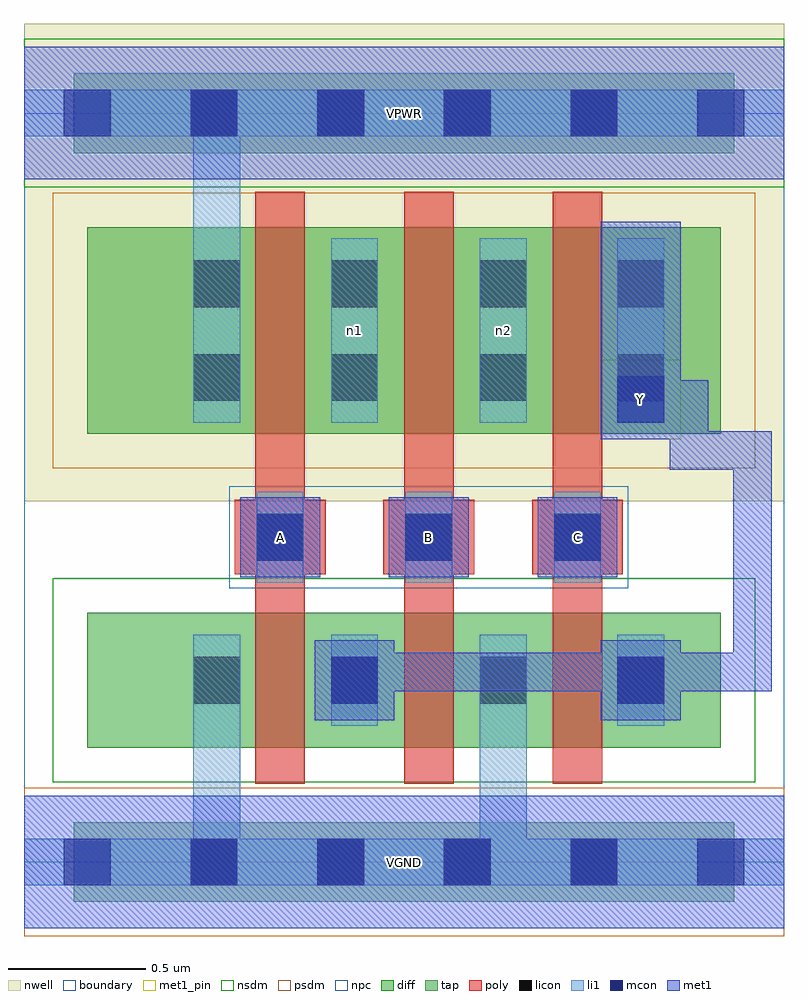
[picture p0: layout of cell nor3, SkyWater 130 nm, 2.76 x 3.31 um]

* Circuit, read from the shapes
.subckt nor3 A B C VGND VPWR Y n1 n2
XM1 Y A VGND VGND sky130_fd_pr__nfet_01v8 w=0.49 l=0.18
XM2 VGND B Y VGND sky130_fd_pr__nfet_01v8 w=0.49 l=0.18
XM3 Y C VGND VGND sky130_fd_pr__nfet_01v8 w=0.49 l=0.18
XM4 n1 A VPWR VPWR sky130_fd_pr__pfet_01v8 w=0.75 l=0.18
XM5 n2 B n1 VPWR sky130_fd_pr__pfet_01v8 w=0.75 l=0.18
XM6 Y C n2 VPWR sky130_fd_pr__pfet_01v8 w=0.75 l=0.18
.ends

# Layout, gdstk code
import gdstk
lib = gdstk.Library(unit=1e-6, precision=1e-09)
def R(c, l, rs):  # rectangles x0, y0, x1, y1
    for r in rs: c.add(gdstk.rectangle(r[:2], r[2:], *l))
def A(c, l, x, y, w, h, nx, ny, dx, dy):  # array of equal rectangles
    R(c, l, [(x+i*dx, y+j*dy, x+i*dx+w, y+j*dy+h) for i in range(nx) for j in range(ny)])
nwell = (64, 20)
diff = (65, 20)
tap = (65, 44)
poly = (66, 20)
licon = (66, 44)
li1 = (67, 20)
mcon = (67, 44)
met1_pin = (68, 16)
met1 = (68, 20)
nsdm = (93, 44)
psdm = (94, 20)
npc = (95, 20)
boundary = (235, 4)

nor3 = lib.new_cell('nor3')
R(nor3, nwell, [(0,1.31,2.76,3.045)])
R(nor3, diff, [(0.23,0.415,2.53,0.905), (0.23,1.555,2.53,2.305)])
R(nor3, tap, [(0.18,-0.145,2.58,0.145), (0.18,2.575,2.58,2.865)])
A(nor3, poly, 0.84, 0.285, 0.18, 2.15, 3, 1, 0.54, 0)
A(nor3, poly, 0.765, 1.045, 0.33, 0.27, 3, 1, 0.54, 0)
A(nor3, licon, 0.605, -0.085, 0.17, 0.17, 4, 2, 0.46, 2.72)
A(nor3, licon, 0.845, 1.095, 0.17, 0.17, 3, 1, 0.54, 0)
R(nor3, licon, [(0.615,0.575,0.785,0.745), (1.115,0.575,1.285,0.745), (1.655,0.575,1.825,0.745), (2.155,0.575,2.325,0.745), (0.615,1.675,0.785,1.845), (1.115,1.675,1.285,1.845), (1.655,1.675,1.825,1.845), (2.155,1.675,2.325,1.845), (0.615,2.015,0.785,2.185), (1.115,2.015,1.285,2.185), (1.655,2.015,1.825,2.185), (2.155,2.015,2.325,2.185)])
A(nor3, li1, 0.845, 1.015, 0.17, 0.33, 3, 1, 0.54, 0)
R(nor3, li1, [(0,-0.085,2.76,0.085), (0.615,-0.085,0.785,0.825), (1.655,-0.085,1.825,0.825), (0.615,0.495,0.785,0.825), (1.115,0.495,1.285,0.825), (1.655,0.495,1.825,0.825), (2.155,0.495,2.325,0.825), (0.615,1.595,0.785,2.265), (0.615,1.595,0.785,2.805), (1.115,1.595,1.285,2.265), (1.655,1.595,1.825,2.265), (2.155,1.595,2.325,2.265), (0,2.635,2.76,2.805)])
A(nor3, mcon, 0.145, -0.085, 0.17, 0.17, 6, 2, 0.46, 2.72)
A(nor3, mcon, 0.845, 1.095, 0.17, 0.17, 3, 1, 0.54, 0)
R(nor3, mcon, [(1.115,0.575,1.285,0.745), (2.155,0.575,2.325,0.745), (2.155,1.595,2.325,1.765)])
A(nor3, met1_pin, 0.785, 1.035, 0.29, 0.29, 3, 1, 0.54, 0)
R(nor3, met1_pin, [(0,-0.24,2.76,0.24), (2.095,1.535,2.385,1.825), (0,2.48,2.76,2.96)])
A(nor3, met1, 0.785, 1.035, 0.29, 0.29, 3, 1, 0.54, 0)
R(nor3, met1, [(0,-0.24,2.76,0.24), (1.055,0.515,1.345,0.805), (2.095,0.515,2.385,0.805), (1.195,0.62,1.335,0.76), (1.195,0.62,2.255,0.76), (2.115,0.62,2.255,0.76), (2.115,0.62,2.715,0.76), (2.575,0.62,2.715,1.565), (2.345,1.425,2.485,1.75), (2.345,1.425,2.715,1.565), (2.345,1.425,2.485,1.68), (2.095,1.535,2.385,1.825), (2.095,1.535,2.385,2.325), (2.23,1.54,2.37,1.68), (2.23,1.54,2.485,1.68), (2.17,1.61,2.485,1.75), (0,2.48,2.76,2.96)])
R(nor3, nsdm, [(0.105,0.29,2.655,1.03), (0,2.45,2.76,2.99)])
R(nor3, psdm, [(0,-0.27,2.76,0.27), (0.105,1.43,2.655,2.43)])
R(nor3, npc, [(0.745,0.995,2.195,1.365)])
R(nor3, boundary, [(0,0,2.76,2.72)])
nor3.add(gdstk.Label('n1', (1.2,1.93), layer=67, texttype=5))
nor3.add(gdstk.Label('n2', (1.74,1.93), layer=67, texttype=5))
nor3.add(gdstk.Label('A', (0.93,1.18), layer=68, texttype=5))
nor3.add(gdstk.Label('B', (1.47,1.18), layer=68, texttype=5))
nor3.add(gdstk.Label('C', (2.01,1.18), layer=68, texttype=5))
nor3.add(gdstk.Label('Y', (2.24,1.68), layer=68, texttype=5))
nor3.add(gdstk.Label('VPWR', (1.38,2.72), layer=68, texttype=5))
nor3.add(gdstk.Label('VGND', (1.38,0), layer=68, texttype=5))
nor3.add(gdstk.Label('A', (0.93,1.18), layer=68, texttype=16))
nor3.add(gdstk.Label('B', (1.47,1.18), layer=68, texttype=16))
nor3.add(gdstk.Label('C', (2.01,1.18), layer=68, texttype=16))
nor3.add(gdstk.Label('Y', (2.24,1.68), layer=68, texttype=16))
nor3.add(gdstk.Label('VPWR', (1.38,2.72), layer=68, texttype=16))
nor3.add(gdstk.Label('VGND', (1.38,0), layer=68, texttype=16))

lib.write_gds('nor3.gds')
